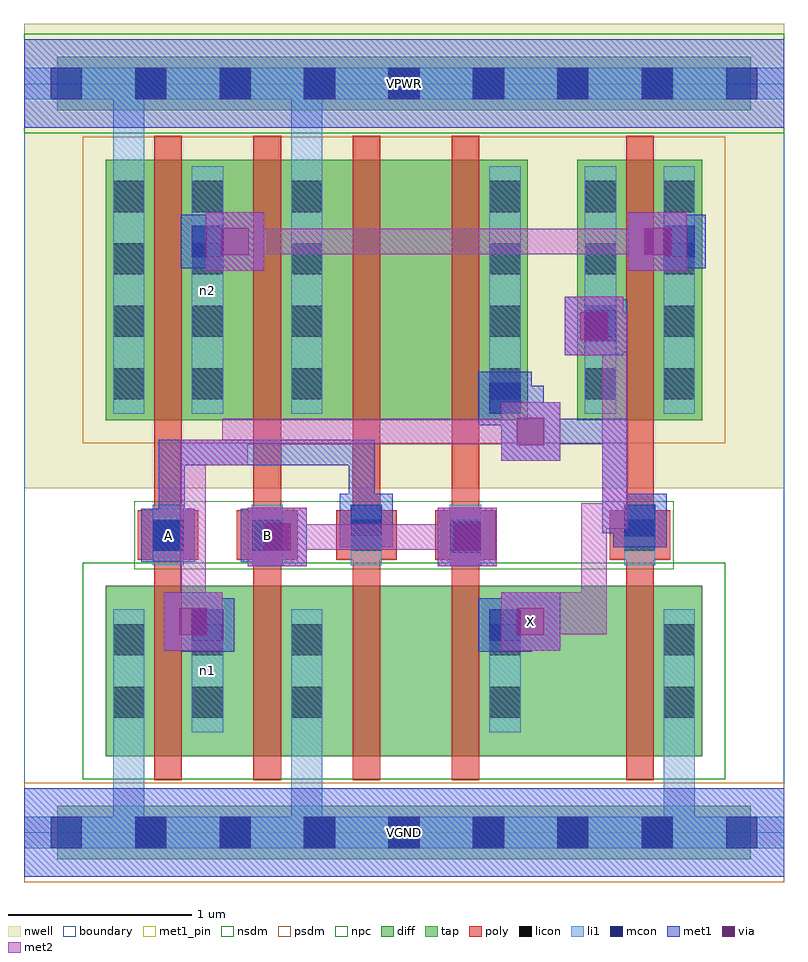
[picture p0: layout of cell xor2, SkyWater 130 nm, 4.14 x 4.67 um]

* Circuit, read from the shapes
.subckt xor2 A B VGND VPWR X n1 n2
XM1 n1 A VGND VGND sky130_fd_pr__nfet_01v8 w=0.93 l=0.15
XM2 VGND B n1 VGND sky130_fd_pr__nfet_01v8 w=0.93 l=0.15
XM3 n3 A VGND VGND sky130_fd_pr__nfet_01v8 w=0.93 l=0.15
XM4 X B n3 VGND sky130_fd_pr__nfet_01v8 w=0.93 l=0.15
XM5 VGND n1 X VGND sky130_fd_pr__nfet_01v8 w=0.93 l=0.15
XM6 n2 A VPWR VPWR sky130_fd_pr__pfet_01v8 w=1.42 l=0.15
XM7 VPWR B n2 VPWR sky130_fd_pr__pfet_01v8 w=1.42 l=0.15
XM8 n4 A VPWR VPWR sky130_fd_pr__pfet_01v8 w=1.42 l=0.15
XM9 n1 B n4 VPWR sky130_fd_pr__pfet_01v8 w=1.42 l=0.15
XM10 n2 n1 X VPWR sky130_fd_pr__pfet_01v8 w=1.42 l=0.15
.ends

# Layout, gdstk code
import gdstk
lib = gdstk.Library(unit=1e-6, precision=1e-09)
def R(c, l, rs):  # rectangles x0, y0, x1, y1
    for r in rs: c.add(gdstk.rectangle(r[:2], r[2:], *l))
def A(c, l, x, y, w, h, nx, ny, dx, dy):  # array of equal rectangles
    R(c, l, [(x+i*dx, y+j*dy, x+i*dx+w, y+j*dy+h) for i in range(nx) for j in range(ny)])
nwell = (64, 20)
diff = (65, 20)
tap = (65, 44)
poly = (66, 20)
licon = (66, 44)
li1 = (67, 20)
mcon = (67, 44)
met1_pin = (68, 16)
met1 = (68, 20)
via = (68, 44)
met2 = (69, 20)
nsdm = (93, 44)
psdm = (94, 20)
npc = (95, 20)
boundary = (235, 4)

xor2 = lib.new_cell('xor2')
R(xor2, nwell, [(0,1.875,4.14,4.405)])
R(xor2, diff, [(0.445,0.415,3.695,1.345), (0.445,2.245,2.745,3.665), (3.015,2.245,3.695,3.665)])
R(xor2, tap, [(0.18,-0.145,3.96,0.145), (0.18,3.935,3.96,4.225)])
A(xor2, poly, 0.71, 0.285, 0.15, 3.51, 4, 1, 0.54, 0)
A(xor2, poly, 0.62, 1.485, 0.33, 0.27, 4, 1, 0.54, 0)
R(xor2, poly, [(3.28,0.285,3.43,3.795), (3.19,1.485,3.52,1.755)])
A(xor2, licon, 0.605, -0.085, 0.17, 0.17, 7, 2, 0.46, 4.08)
A(xor2, licon, 0.7, 1.535, 0.17, 0.17, 4, 1, 0.54, 0)
A(xor2, licon, 0.485, 2.36, 0.17, 0.17, 1, 4, 0, 0.34)
A(xor2, licon, 0.915, 2.36, 0.17, 0.17, 1, 4, 0, 0.34)
A(xor2, licon, 1.455, 2.36, 0.17, 0.17, 1, 4, 0, 0.34)
A(xor2, licon, 2.535, 2.36, 0.17, 0.17, 1, 4, 0, 0.34)
A(xor2, licon, 3.055, 2.36, 0.17, 0.17, 1, 4, 0, 0.34)
A(xor2, licon, 3.485, 2.36, 0.17, 0.17, 1, 4, 0, 0.34)
R(xor2, licon, [(0.485,0.625,0.655,0.795), (0.915,0.625,1.085,0.795), (1.455,0.625,1.625,0.795), (2.535,0.625,2.705,0.795), (3.485,0.625,3.655,0.795), (0.485,0.965,0.655,1.135), (0.915,0.965,1.085,1.135), (1.455,0.965,1.625,1.135), (2.535,0.965,2.705,1.135), (3.485,0.965,3.655,1.135), (3.27,1.535,3.44,1.705)])
A(xor2, li1, 0.7, 1.455, 0.17, 0.33, 4, 1, 0.54, 0)
R(xor2, li1, [(0,-0.085,4.14,0.085), (0.485,-0.085,0.655,1.215), (1.455,-0.085,1.625,1.215), (3.485,-0.085,3.655,1.215), (0.485,0.545,0.655,1.215), (0.915,0.545,1.085,1.215), (1.455,0.545,1.625,1.215), (2.535,0.545,2.705,1.215), (3.485,0.545,3.655,1.215), (3.27,1.455,3.44,1.785), (0.485,2.28,0.655,3.63), (0.485,2.28,0.655,4.165), (0.915,2.28,1.085,3.63), (1.455,2.28,1.625,3.63), (1.455,2.28,1.625,4.165), (2.535,2.28,2.705,3.63), (3.055,2.28,3.225,3.63), (3.485,2.28,3.655,3.63), (0,3.995,4.14,4.165)])
A(xor2, mcon, 0.145, -0.085, 0.17, 0.17, 9, 2, 0.46, 4.08)
R(xor2, mcon, [(0.915,1.045,1.085,1.215), (2.535,1.045,2.705,1.215), (2.32,1.525,2.49,1.695), (0.7,1.535,0.87,1.705), (1.24,1.535,1.41,1.705), (1.78,1.615,1.95,1.785), (3.27,1.615,3.44,1.785), (2.535,2.28,2.705,2.45), (3.055,2.675,3.225,2.845), (0.915,3.135,1.085,3.305), (3.485,3.135,3.655,3.305)])
R(xor2, met1_pin, [(0,-0.24,4.14,0.24), (2.6,0.99,2.92,1.31), (0.64,1.475,0.93,1.765), (1.18,1.475,1.47,1.765), (0,3.84,4.14,4.32)])
R(xor2, met1, [(0,-0.24,4.14,0.24), (0.855,0.985,1.145,1.275), (2.475,0.985,2.765,1.275), (0.76,0.99,1.08,1.31), (2.6,0.99,2.92,1.31), (0.85,1.06,1.07,1.2), (0.85,1.06,0.99,1.22), (2.55,1.06,2.83,1.2), (2.69,1.06,2.83,1.22), (1.22,1.45,1.54,1.77), (2.255,1.45,2.575,1.77), (2.26,1.465,2.55,1.755), (0.64,1.475,0.93,1.765), (1.18,1.475,1.47,1.765), (0.735,1.54,0.875,1.68), (0.735,1.54,0.875,2.14), (1.31,1.54,1.45,1.68), (2.335,1.54,2.485,1.68), (1.72,1.555,2.01,1.845), (3.21,1.555,3.5,1.845), (1.77,1.63,1.91,1.91), (1.77,1.63,1.935,1.77), (3.15,1.63,3.425,1.77), (3.15,1.63,3.29,1.91), (1.77,1.77,1.91,2.14), (3.15,1.77,3.29,2.255), (0.735,2,1.91,2.14), (2.6,2.025,2.92,2.345), (2.69,2.115,2.83,2.435), (2.69,2.115,3.29,2.255), (2.475,2.22,2.765,2.51), (2.55,2.295,2.83,2.435), (2.945,2.6,3.265,2.92), (2.995,2.615,3.285,2.905), (3.035,2.69,3.21,2.83), (0.99,3.06,1.31,3.38), (3.29,3.06,3.61,3.38), (0.855,3.075,1.145,3.365), (3.425,3.075,3.715,3.365), (0.93,3.15,1.22,3.29), (3.38,3.15,3.64,3.29), (0,3.84,4.14,4.32)])
R(xor2, via, [(0.845,1.075,0.995,1.225), (2.685,1.075,2.835,1.225), (1.305,1.535,1.455,1.685), (2.34,1.535,2.49,1.685), (2.685,2.11,2.835,2.26), (3.03,2.685,3.18,2.835), (1.075,3.145,1.225,3.295), (3.375,3.145,3.525,3.295)])
R(xor2, met2, [(0.76,0.99,1.08,1.31), (2.6,0.99,2.92,1.31), (0.85,1.08,0.99,2.14), (2.69,1.08,3.175,1.22), (2.92,1.08,3.035,1.31), (3.035,1.08,3.175,1.795), (1.22,1.45,1.54,1.77), (2.255,1.45,2.575,1.77), (1.31,1.54,2.485,1.68), (3.035,1.655,3.29,1.795), (3.15,1.655,3.29,2.83), (0.85,2,1.22,2.14), (1.08,2,1.22,2.255), (2.6,2.025,2.92,2.345), (1.08,2.115,2.83,2.255), (2.945,2.6,3.265,2.92), (3.035,2.69,3.29,2.83), (0.99,3.06,1.31,3.38), (3.29,3.06,3.61,3.38), (1.08,3.15,3.52,3.29)])
R(xor2, nsdm, [(0.32,0.29,3.82,1.47), (0,3.81,4.14,4.35)])
R(xor2, psdm, [(0,-0.27,4.14,0.27), (0.32,2.12,3.82,3.79)])
R(xor2, npc, [(0.6,1.435,3.54,1.805)])
R(xor2, boundary, [(0,0,4.14,4.08)])
xor2.add(gdstk.Label('n1', (1,0.88), layer=67, texttype=5))
xor2.add(gdstk.Label('n2', (1,2.955), layer=67, texttype=5))
xor2.add(gdstk.Label('A', (0.785,1.62), layer=68, texttype=5))
xor2.add(gdstk.Label('B', (1.325,1.62), layer=68, texttype=5))
xor2.add(gdstk.Label('X', (2.76,1.15), layer=68, texttype=5))
xor2.add(gdstk.Label('VPWR', (2.07,4.08), layer=68, texttype=5))
xor2.add(gdstk.Label('VGND', (2.07,0), layer=68, texttype=5))
xor2.add(gdstk.Label('A', (0.785,1.62), layer=68, texttype=16))
xor2.add(gdstk.Label('B', (1.325,1.62), layer=68, texttype=16))
xor2.add(gdstk.Label('X', (2.76,1.15), layer=68, texttype=16))
xor2.add(gdstk.Label('VPWR', (2.07,4.08), layer=68, texttype=16))
xor2.add(gdstk.Label('VGND', (2.07,0), layer=68, texttype=16))

lib.write_gds('xor2.gds')
